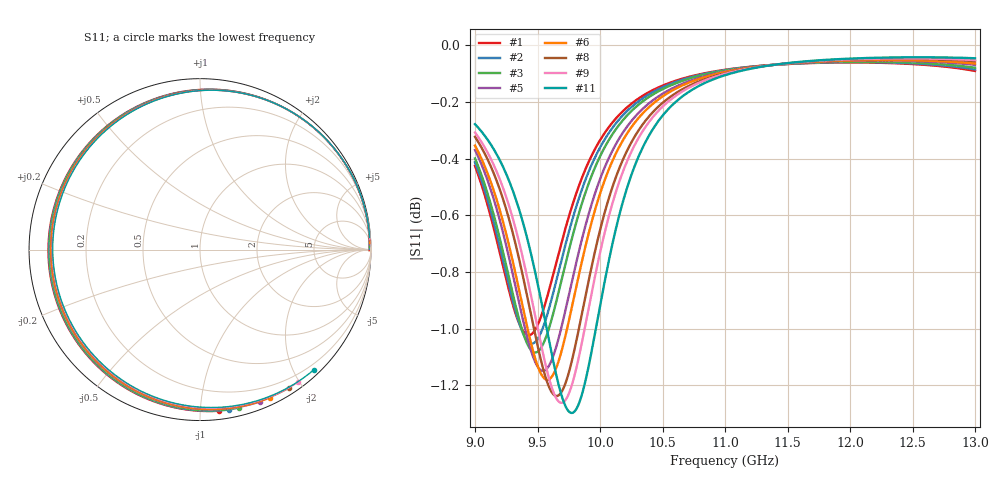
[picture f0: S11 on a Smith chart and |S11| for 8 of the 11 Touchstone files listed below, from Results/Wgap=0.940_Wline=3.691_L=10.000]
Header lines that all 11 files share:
! TOUCHSTONE file generated by CST DESIGN STUDIO
! Project name: C:\Work\MatlabApps\UnitCellOptimizationMatlab\CST\unitcell.cst
! Tree item: Tasks\Sweep1\SPara1\S-Parameters
! Header version: 2024
! Port assignment regex: !\s*Touchstone port\s*([0-9]+)\s*=\s*(CST MWS port|CST DES external port|CST DES block port)\s*(.+)\s* \(\"(.*)\"\)(\s*mode\s*([0-9]+))?.*
! Touchstone port assignment:
! Touchstone port 1 = CST DES external port 1 ("")
# GHz S MA R 50
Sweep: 9 GHz to 13 GHz
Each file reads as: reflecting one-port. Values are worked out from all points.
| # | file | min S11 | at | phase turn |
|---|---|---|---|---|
| 1 | DS_for_MWS-run-0001.s1p | -1.0 dB | 9.43 GHz | -277 deg |
| 2 | DS_for_MWS-run-0002.s1p | -1.1 dB | 9.454 GHz | -280 deg |
| 3 | DS_for_MWS-run-0003.s1p | -1.1 dB | 9.482 GHz | -283 deg |
| 4 | DS_for_MWS-run-0004.s1p | -1.1 dB | 9.512 GHz | -287 deg |
| 5 | DS_for_MWS-run-0005.s1p | -1.1 dB | 9.544 GHz | -290 deg |
| 6 | DS_for_MWS-run-0006.s1p | -1.2 dB | 9.578 GHz | -293 deg |
| 7 | DS_for_MWS-run-0007.s1p | -1.2 dB | 9.615 GHz | -297 deg |
| 8 | DS_for_MWS-run-0008.s1p | -1.2 dB | 9.652 GHz | -300 deg |
| 9 | DS_for_MWS-run-0009.s1p | -1.3 dB | 9.692 GHz | -303 deg |
| 10 | DS_for_MWS-run-0010.s1p | -1.3 dB | 9.732 GHz | -306 deg |
| 11 | DS_for_MWS-run-0011.s1p | -1.3 dB | 9.773 GHz | -309 deg |
